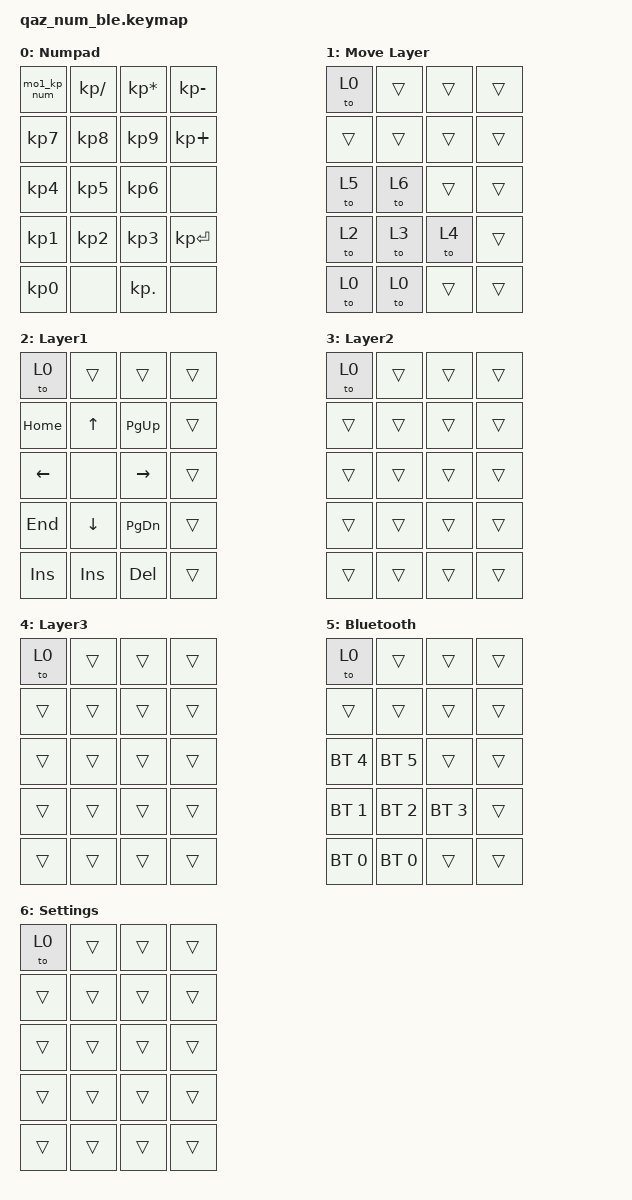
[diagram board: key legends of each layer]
#include <behaviors.dtsi>
#include <dt-bindings/zmk/keys.h>
#include <dt-bindings/zmk/bt.h>
#include <dt-bindings/zmk/pointing.h>

/ {
    macros {
        mo1_kp_num: mo1_kp_num {
            compatible = "zmk,behavior-macro";
            #binding-cells = <0>;
            bindings
                = <&macro_press &mo 1 &kp KP_NUM>
                , <&macro_pause_for_release>
                , <&macro_release &mo 1 &kp KP_NUM>
                ;
        };
    };
    keymap {
        compatible = "zmk,keymap";

        default_layer {
            display-name = "Numpad";
            bindings = <
                &mo1_kp_num   &kp KP_DIVIDE    &kp KP_MULTIPLY    &kp KP_MINUS
                &kp KP_N7     &kp KP_N8        &kp KP_N9          &kp KP_PLUS
                &kp KP_N4     &kp KP_N5        &kp KP_N6          &none	
                &kp KP_N1     &kp KP_N2        &kp KP_N3          &kp KP_ENTER
                &kp KP_N0     &none	           &kp KP_DOT         &none	
            >;
        };
        layer_2 {
            display-name = "Move Layer";
            bindings = <
                &to 0       &trans      &trans      &trans
                &trans      &trans      &trans      &trans
                &to 5       &to 6       &trans      &trans
                &to 2       &to 3       &to 4       &trans
                &to 0       &to 0       &trans      &trans
            >;
        };
        layer_3 {
            display-name = "Layer1";
            bindings = <
                &to 0       &trans      &trans      &trans
                &kp HOME    &kp UP      &kp PG_UP   &trans
                &kp LEFT    &none       &kp RIGHT   &trans
                &kp END     &kp DOWN    &kp PG_DN   &trans
                &kp INS     &kp INS     &kp DEL     &trans
            >;
        };
        layer_4 {
            display-name = "Layer2";
            bindings = <
                &to 0       &trans      &trans      &trans
                &trans      &trans      &trans      &trans
                &trans      &trans      &trans      &trans
                &trans      &trans      &trans      &trans
                &trans      &trans      &trans      &trans
            >;
        };
        layer_5 {
            display-name = "Layer3";
            bindings = <
                &to 0       &trans      &trans      &trans
                &trans      &trans      &trans      &trans
                &trans      &trans      &trans      &trans
                &trans      &trans      &trans      &trans
                &trans      &trans      &trans      &trans
            >;
        };
        layer_6 {
            display-name = "Bluetooth";
            bindings = <
                &to 0             &trans            &trans            &trans
                &trans            &trans            &trans            &trans
                &bt BT_SEL 4      &bt BT_SEL 5      &trans            &trans
                &bt BT_SEL 1      &bt BT_SEL 2      &bt BT_SEL 3      &trans
                &bt BT_SEL 0      &bt BT_SEL 0      &trans            &trans
            >;
        };
        layer_7 {
            display-name = "Settings";
            bindings = <
                &to 0       &trans      &trans      &trans
                &trans      &trans      &trans      &trans
                &trans      &trans      &trans      &trans
                &trans      &trans      &trans      &trans
                &trans      &trans      &trans      &trans
            >;
        };
    };
 };
